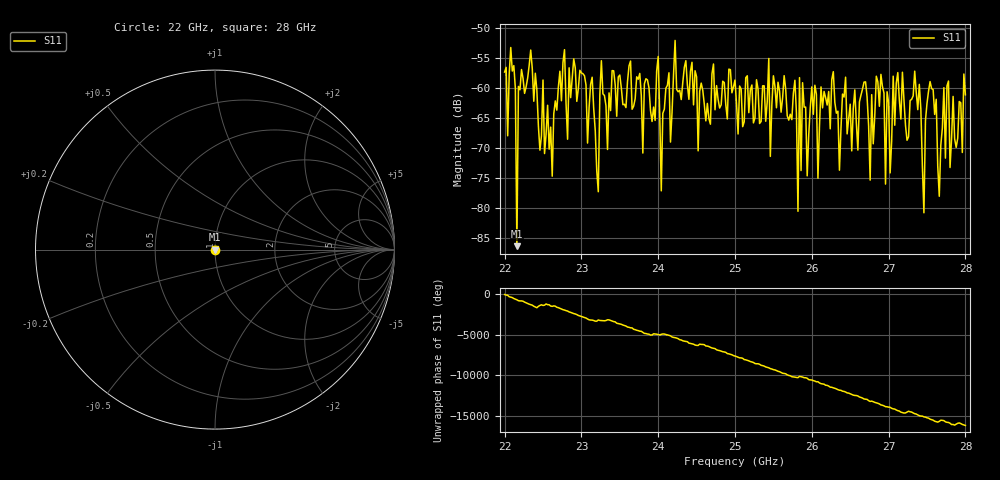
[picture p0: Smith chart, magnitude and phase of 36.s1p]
#  HZ  S  RI  R  50.00
! Rohde & Schwarz ZVA40 4Ports - Version 3.90 - 1145.1110k42 SN: 100403
! Date: 2023-10-04 06:51:12
! Measurement: S12
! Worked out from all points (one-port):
!   301 points, 22 GHz to 28 GHz, reference 50 ohm
!   lowest |S11| = -86.4 dB at 22.16 GHz (marker M1), VSWR 1.00, Z = 50 + j0.000426 ohm
!   |S11| at or under -10 dB: start of sweep to end of sweep
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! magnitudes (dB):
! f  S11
! 22 GHz  -57.4
! 22.12 GHz  -56.3
! 22.16 GHz  -86.4
! 22.22 GHz  -56.9
! 22.62 GHz  -74.7
! 22.76 GHz  -55.8
! 23.14 GHz  -58.2
! 23.22 GHz  -77.3
! 23.26 GHz  -55.5
! 23.34 GHz  -70.3
! 23.5 GHz  -57.9
! 23.8 GHz  -70.9
! 24 GHz  -54.8
! 24.04 GHz  -77.2
! 24.26 GHz  -60.6
! 25 GHz  -58.7
! 25.76 GHz  -60.9
! 25.82 GHz  -80.6
! 25.84 GHz  -58.3
! 25.94 GHz  -74.7
! 26.5 GHz  -62.7
! 27.26 GHz  -68.2
! 27.4 GHz  -59.4
! 27.46 GHz  -80.8
! 27.54 GHz  -58.9
! 27.66 GHz  -78.1
! 27.72 GHz  -60.0
! 28 GHz  -61.1
